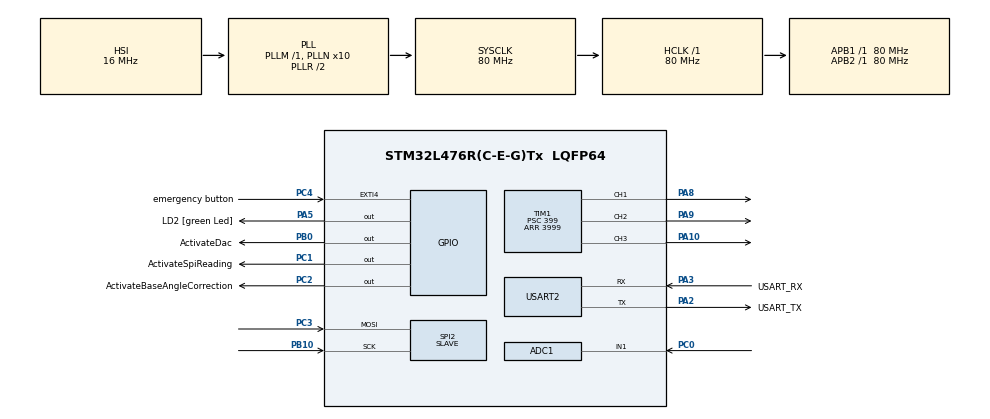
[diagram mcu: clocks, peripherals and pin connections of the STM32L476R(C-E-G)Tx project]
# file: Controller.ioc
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ADC1.Channel-0\#ChannelRegularConversion=ADC_CHANNEL_1
ADC1.NbrOfConversionFlag=1
ADC1.OffsetNumber-0\#ChannelRegularConversion=ADC_OFFSET_NONE
ADC1.Rank-0\#ChannelRegularConversion=1
ADC1.SamplingTime-0\#ChannelRegularConversion=ADC_SAMPLETIME_2CYCLES_5
ADC1.master=1
Mcu.Family=STM32L4
Mcu.Name=STM32L476R(C-E-G)Tx
Mcu.Package=LQFP64
NVIC.EXTI4_IRQn=true\:0\:0\:false\:false\:true\:true\:true\:true
NVIC.PriorityGroup=NVIC_PRIORITYGROUP_4
NVIC.TIM6_DAC_IRQn=true\:0\:0\:false\:false\:true\:true\:true\:true
PA10.Signal=S_TIM1_CH3
PA13\ (JTMS-SWDIO).GPIO_Label=TMS
PA13\ (JTMS-SWDIO).Mode=Serial_Wire
PA13\ (JTMS-SWDIO).Signal=SYS_JTMS-SWDIO
PA14\ (JTCK-SWCLK).GPIO_Label=TCK
PA14\ (JTCK-SWCLK).Mode=Serial_Wire
PA14\ (JTCK-SWCLK).Signal=SYS_JTCK-SWCLK
PA2.GPIO_Label=USART_TX
PA2.GPIO_Mode=GPIO_MODE_AF_PP
PA2.GPIO_PuPd=GPIO_NOPULL
PA2.GPIO_Speed=GPIO_SPEED_FREQ_VERY_HIGH
PA2.Mode=Asynchronous
PA2.Signal=USART2_TX
PA3.GPIO_Label=USART_RX
PA3.GPIO_Mode=GPIO_MODE_AF_PP
PA3.GPIO_PuPd=GPIO_NOPULL
PA3.GPIO_Speed=GPIO_SPEED_FREQ_VERY_HIGH
PA3.Mode=Asynchronous
PA3.Signal=USART2_RX
PA5.GPIO_Label=LD2 [green Led]
PA5.GPIO_ModeDefaultOutputPP=GPIO_MODE_OUTPUT_PP
PA5.GPIO_PuPd=GPIO_NOPULL
PA5.GPIO_Speed=GPIO_SPEED_FREQ_LOW
PA5.Signal=GPIO_Output
PA8.Signal=S_TIM1_CH1
PA9.Signal=S_TIM1_CH2
PB0.GPIO_Label=ActivateDac
PB0.Signal=GPIO_Output
PB10.Mode=RX_Only_Simplex_Unidirect_Slave
PB10.Signal=SPI2_SCK
PB3\ (JTDO-TRACESWO).GPIO_Label=SWO
PB3\ (JTDO-TRACESWO).Signal=SYS_JTDO-SWO
PC0.Signal=ADCx_IN1
PC1.GPIO_Label=ActivateSpiReading
PC1.Signal=GPIO_Output
PC14-OSC32_IN\ (PC14).Mode=LSE-External-Oscillator
PC14-OSC32_IN\ (PC14).Signal=RCC_OSC32_IN
PC15-OSC32_OUT\ (PC15).Mode=LSE-External-Oscillator
PC15-OSC32_OUT\ (PC15).Signal=RCC_OSC32_OUT
PC2.GPIO_Label=ActivateBaseAngleCorrection
PC2.Signal=GPIO_Output
PC3.Mode=RX_Only_Simplex_Unidirect_Slave
PC3.Signal=SPI2_MOSI
PC4.GPIO_Label=emergency button
PC4.Signal=GPXTI4
PH0-OSC_IN\ (PH0).Signal=RCC_OSC_IN
PH1-OSC_OUT\ (PH1).Signal=RCC_OSC_OUT
ProjectManager.HeapSize=0x200
ProjectManager.StackSize=0x400
ProjectManager.TargetToolchain=STM32CubeIDE
RCC.ADCFreq_Value=64000000
RCC.AHBFreq_Value=80000000
RCC.APB1Freq_Value=80000000
RCC.APB1TimFreq_Value=80000000
RCC.APB2Freq_Value=80000000
RCC.APB2TimFreq_Value=80000000
RCC.CortexFreq_Value=80000000
RCC.HCLKFreq_Value=80000000
RCC.HSE_VALUE=8000000
RCC.HSI_VALUE=16000000
RCC.MSI_VALUE=4000000
RCC.PLLN=10
RCC.PLLSourceVirtual=RCC_PLLSOURCE_HSI
RCC.PREFETCH_ENABLE=1
RCC.SYSCLKFreq_VALUE=80000000
RCC.SYSCLKSource=RCC_SYSCLKSOURCE_PLLCLK
RCC.USBFreq_Value=64000000
RCC.VCOOutputFreq_Value=160000000
SH.ADCx_IN1.0=ADC1_IN1,IN1-Single-Ended
SH.S_TIM1_CH1.0=TIM1_CH1,PWM Generation1 CH1
SH.S_TIM1_CH2.0=TIM1_CH2,PWM Generation2 CH2
SH.S_TIM1_CH3.0=TIM1_CH3,PWM Generation3 CH3
SPI2.DataSize=SPI_DATASIZE_8BIT
SPI2.Direction=SPI_DIRECTION_2LINES_RXONLY
SPI2.Mode=SPI_MODE_SLAVE
SPI2.VirtualType=VM_SLAVE
TIM1.Channel-PWM\ Generation1\ CH1=TIM_CHANNEL_1
TIM1.Channel-PWM\ Generation2\ CH2=TIM_CHANNEL_2
TIM1.Channel-PWM\ Generation3\ CH3=TIM_CHANNEL_3
TIM1.Period=3999
TIM1.Prescaler=399
TIM6.Period=5999
TIM6.Prescaler=7999
USART2.VirtualMode-Asynchronous=VM_ASYNC
VP_TIM1_VS_ClockSourceINT.Mode=Internal
VP_TIM6_VS_ClockSourceINT.Mode=Enable_Timer
board=NUCLEO-L476RG

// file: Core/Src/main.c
/* USER CODE BEGIN Header */
/**
  ******************************************************************************
  * @file           : main.c
  * @brief          : Main program body
  ******************************************************************************
  * @attention
  *
  * Copyright (c) 2025 STMicroelectronics.
  * All rights reserved.
  *
  * This software is licensed under terms that can be found in the LICENSE file
  * in the root directory of this software component.
  * If no LICENSE file comes with this software, it is provided AS-IS.
  *
  ******************************************************************************
  */
/* USER CODE END Header */
#include "main.h"
#include "adc.h"
#include "spi.h"
#include "tim.h"
#include "usart.h"
#include "gpio.h"

/* USER CODE BEGIN Includes */
#include <math.h>
/* USER CODE END Includes */

/* USER CODE BEGIN PTD */
typedef struct {
    double angle_base;
    double angle_a1;
    double angle_a2;
    uint16_t ccr_base;
    uint16_t ccr_a1;
    uint16_t ccr_a2;
} ArmAnglesCCR_t;
/* USER CODE END PTD */

/* USER CODE BEGIN PD */
#define ADC_MAX_VALUE 4095 //(2^12bits) -1
#define REF_VOLTAGE 3.3f //volts
#define INITIAL_POSITION_SERVO 1500
#define SUPERLOOP_PERIOD_MS   600u
#define SERVO_SETTLE_MS      200u

/* USER CODE END PD */

/* USER CODE BEGIN PV */
typedef enum {
    STATE_COMPUTE,
    STATE_SEND,
    STATE_WAIT,
    STATE_READ,
    STATE_VERIFY,
    STATE_CORRECT,
    STATE_GRIP,
    STATE_RESET
} ArmState_t;

/* USER CODE END PV */

void SystemClock_Config(void);
/* USER CODE BEGIN PFP */
float adcToVolts(uint32_t rawReading);
ArmAnglesCCR_t ArmAnglesCCR_centered(double x, double y, double z);
float readAdc();
void PwmStart(uint8_t channelNumber1, uint8_t channelNumber2, uint8_t channelNumber3);
void sendCCR(uint16_t x, uint16_t y, uint16_t z);
void readAngles();
void PwmStop(uint8_t channelNumber1, uint8_t channelNumber2, uint8_t channelNumber3);
void angleCorrectionMinus90();
int8_t verifyPosition(double desiredBase, int8_t actualBase, float* result);
void initialPosition();
void turnOnLedGreen();
void turnOffLedGreen();
void activateGripper();
uint16_t angle_to_ccr(double angle);
uint16_t correctAngle(int8_t base_meas, float base_error);
/* USER CODE END PFP */

/* USER CODE BEGIN 0 */
ArmAnglesCCR_t ccrAnlge;
int8_t tx_bytes_corrected[3] = {0,0,0}; // Tableau SPI à recevoir
uint8_t tx_bytes[3] = {0,0,0}; // Tableau SPI à recevoir
volatile uint32_t nbErrors=0;
volatile uint8_t emergency_stop = 0;
static ArmState_t state = STATE_COMPUTE;
volatile uint8_t superloop_tick = 0;
static uint32_t wait_start_ms = 0u;

/* USER CODE END 0 */

int main(void)
{

  /* MCU Configuration--------------------------------------------------------*/

  /* Reset of all peripherals, Initializes the Flash interface and the Systick. */
  HAL_Init();

  /* Configure the system clock */
  SystemClock_Config();

  /* Initialize all configured peripherals */
  MX_GPIO_Init();
  MX_USART2_UART_Init();
  MX_ADC1_Init();
  MX_SPI2_Init();
  MX_TIM1_Init();
  MX_TIM6_Init();
  /* USER CODE BEGIN 2 */
  HAL_TIM_Base_Start_IT(&htim6);
  PwmStart(TIM_CHANNEL_1, TIM_CHANNEL_2, TIM_CHANNEL_3);
  int8_t y_position= 65;
  float base_error=0;
  /* USER CODE END 2 */

  /* Infinite loop */
  /* USER CODE BEGIN WHILE */
  while (1)
  {
	  if (emergency_stop)
	  {
	      PwmStop(TIM_CHANNEL_1, TIM_CHANNEL_2, TIM_CHANNEL_3);
	      HAL_TIM_Base_Stop_IT(&htim6);
	      turnOffLedGreen();
	      continue;
	  }

	  if(superloop_tick ==0){
		  continue;
	  }
	  superloop_tick=0;

	  switch(state){

		  case STATE_COMPUTE:
			  ccrAnlge = ArmAnglesCCR_centered(30,y_position,10);
			  turnOnLedGreen();
			  state = STATE_SEND;
			  break;

		  case STATE_SEND:
			  sendCCR(ccrAnlge.ccr_base,ccrAnlge.ccr_a1,ccrAnlge.ccr_a2);
			  wait_start_ms = HAL_GetTick();
			  state = STATE_WAIT;
			  break;

		  //very long, upto 200ms
		  case STATE_WAIT:
			   if ((HAL_GetTick() - wait_start_ms) >= SERVO_SETTLE_MS){
					state = STATE_READ;
			   }
			  break;

		  //very long, upto 200ms
		  case STATE_READ:
			  readAngles();
			  angleCorrectionMinus90();
			  state = STATE_VERIFY;
			  break;

		  case STATE_VERIFY:
			  int result = verifyPosition(ccrAnlge.angle_base, tx_bytes_corrected[0], &base_error);
			  if(result ==-1){
				  state = STATE_CORRECT;
			  }

			  else if(result ==1){
				  state = STATE_GRIP;
			  }
			  break;

		  case STATE_CORRECT:
			  uint16_t corrected_ccr_base = correctAngle(tx_bytes_corrected[0],base_error);
			  ccrAnlge.ccr_base= corrected_ccr_base;
			  state = STATE_SEND;
			  break;

		  case STATE_GRIP:
			  activateGripper();
			  if(readAdc()>0.1){
				  state = STATE_RESET;
			  }
			  else{
				  nbErrors++; //increment error variable
				  state = STATE_RESET;
			  }
			  break;

		  case STATE_RESET:
			  initialPosition();
			  turnOffLedGreen();
			  y_position = -y_position; //toggle y position
			  state = STATE_COMPUTE;
			  break;

		  default:
			  state = STATE_COMPUTE;
			  break;
	  }

    /* USER CODE END WHILE */

  }
}

void SystemClock_Config(void)
{
  RCC_OscInitTypeDef RCC_OscInitStruct = {0};
  RCC_ClkInitTypeDef RCC_ClkInitStruct = {0};

  /** Configure the main internal regulator output voltage
  */
  if (HAL_PWREx_ControlVoltageScaling(PWR_REGULATOR_VOLTAGE_SCALE1) != HAL_OK)
  {
    Error_Handler();
  }

  /** Initializes the RCC Oscillators according to the specified parameters
  * in the RCC_OscInitTypeDef structure.
  */
  RCC_OscInitStruct.OscillatorType = RCC_OSCILLATORTYPE_HSI;
  RCC_OscInitStruct.HSIState = RCC_HSI_ON;
  RCC_OscInitStruct.HSICalibrationValue = RCC_HSICALIBRATION_DEFAULT;
  RCC_OscInitStruct.PLL.PLLState = RCC_PLL_ON;
  RCC_OscInitStruct.PLL.PLLSource = RCC_PLLSOURCE_HSI;
  RCC_OscInitStruct.PLL.PLLM = 1;
  RCC_OscInitStruct.PLL.PLLN = 10;
  RCC_OscInitStruct.PLL.PLLP = RCC_PLLP_DIV7;
  RCC_OscInitStruct.PLL.PLLQ = RCC_PLLQ_DIV2;
  RCC_OscInitStruct.PLL.PLLR = RCC_PLLR_DIV2;
  if (HAL_RCC_OscConfig(&RCC_OscInitStruct) != HAL_OK)
  {
    Error_Handler();
  }

  /** Initializes the CPU, AHB and APB buses clocks
  */
  RCC_ClkInitStruct.ClockType = RCC_CLOCKTYPE_HCLK|RCC_CLOCKTYPE_SYSCLK
                              |RCC_CLOCKTYPE_PCLK1|RCC_CLOCKTYPE_PCLK2;
  RCC_ClkInitStruct.SYSCLKSource = RCC_SYSCLKSOURCE_PLLCLK;
  RCC_ClkInitStruct.AHBCLKDivider = RCC_SYSCLK_DIV1;
  RCC_ClkInitStruct.APB1CLKDivider = RCC_HCLK_DIV1;
  RCC_ClkInitStruct.APB2CLKDivider = RCC_HCLK_DIV1;

  if (HAL_RCC_ClockConfig(&RCC_ClkInitStruct, FLASH_LATENCY_4) != HAL_OK)
  {
    Error_Handler();
  }
}

/* USER CODE BEGIN 4 */
void HAL_GPIO_EXTI_Callback(uint16_t GPIO_Pin)
{
    if (GPIO_Pin == GPIO_PIN_4)
    {
        emergency_stop = 1;
    }
}

void HAL_TIM_PeriodElapsedCallback(TIM_HandleTypeDef *htim)
{
    if (htim->Instance == TIM6)
    {
        superloop_tick = 1;
    }
}

uint16_t correctAngle(int8_t base_meas, float base_error){
	// Apply correction
	if (base_error > 0)
		base_meas -= base_error;
	else
		base_meas += base_error;

	uint16_t corrected_ccr_base = angle_to_ccr(base_meas);
	return corrected_ccr_base;

}

// Conversion angle 0-180° -> CCR
uint16_t angle_to_ccr(double angle) {
	double angle_calculated;
    if (angle < -90.0) {        // Clamp minimal
        angle = -90.0;
    }
    else if (angle >= 90.0) { // Clamp maximal
        angle = 90.0;
    }

    angle_calculated = (1500.0 + (angle/90.0) * 500.0);
    return (uint16_t)angle_calculated;
}

void activateGripper(){
	  HAL_GPIO_WritePin(GPIOB, GPIO_PIN_0, GPIO_PIN_SET); //activer la pince pour saisir objet
}
void turnOffLedGreen(){
	  HAL_GPIO_WritePin(GPIOA, GPIO_PIN_5, GPIO_PIN_RESET); //green light instead of red light to indicate motors stopped
}
void turnOnLedGreen(){
	  HAL_GPIO_WritePin(GPIOA, GPIO_PIN_5, GPIO_PIN_SET); //green light instead of red light to indicate motors moving
}
void initialPosition(){
	__HAL_TIM_SET_COMPARE(&htim1, TIM_CHANNEL_3, INITIAL_POSITION_SERVO);
	__HAL_TIM_SET_COMPARE(&htim1, TIM_CHANNEL_1, INITIAL_POSITION_SERVO);
	__HAL_TIM_SET_COMPARE(&htim1, TIM_CHANNEL_2, INITIAL_POSITION_SERVO);
}

int8_t verifyPosition(double desiredBase, int8_t actualBase, float* result){
	float error = fabs((float)desiredBase - (float)actualBase);
	*result= error;
	if(error >=0.0 && error <10.0){
		return 1; //success
	}
	else {
		return -1; //error
	}
}

void angleCorrectionMinus90(){
	for(uint8_t i=0; i<sizeof(tx_bytes); i++){
		tx_bytes_corrected[i]=tx_bytes[i]-90; //ajustement de 90 degs
	}
}

void readAngles(){
	 HAL_GPIO_WritePin(GPIOC, GPIO_PIN_1, GPIO_PIN_SET);
	 HAL_SPI_Receive(&hspi2, tx_bytes, 3, 200); //200ms delay
	 HAL_GPIO_WritePin(GPIOC, GPIO_PIN_1, GPIO_PIN_RESET);
}

void sendCCR(uint16_t x, uint16_t y, uint16_t z){
	  __HAL_TIM_SET_COMPARE(&htim1, TIM_CHANNEL_3, x); //PA10 -> PA8
	  __HAL_TIM_SET_COMPARE(&htim1, TIM_CHANNEL_1, y); //PA9 ->
	  __HAL_TIM_SET_COMPARE(&htim1, TIM_CHANNEL_2, z); //PA8
}

void PwmStart(uint8_t channelNumber1, uint8_t channelNumber2, uint8_t channelNumber3){
	  HAL_TIM_PWM_Start(&htim1, channelNumber1);
	  HAL_TIM_PWM_Start(&htim1, channelNumber2);
	  HAL_TIM_PWM_Start(&htim1, channelNumber3);
}

void PwmStop(uint8_t channelNumber1, uint8_t channelNumber2, uint8_t channelNumber3){
	  HAL_TIM_PWM_Stop(&htim1, channelNumber1);
	  HAL_TIM_PWM_Stop(&htim1, channelNumber2);
	  HAL_TIM_PWM_Stop(&htim1, channelNumber3);
}

float adcToVolts(uint32_t rawReading){
	float result = ((float)rawReading/(float)ADC_MAX_VALUE)*REF_VOLTAGE;
	return result;
}

float readAdc(){
	 uint32_t adc_value = 0;
	 float adc_value_VOlts = 0;

	  HAL_ADC_Start(&hadc1);
	  HAL_ADC_PollForConversion(&hadc1, 10);
	 adc_value = HAL_ADC_GetValue(&hadc1);
	HAL_ADC_Stop(&hadc1);
	 adc_value_VOlts = adcToVolts(adc_value);
	 return adc_value_VOlts;
}

ArmAnglesCCR_t ArmAnglesCCR_centered(double x, double y, double z)
{
    ArmAnglesCCR_t result;

    // ---- Paramètres physiques ----
    const double L = 75.0;          // longueur des segments (mm)
    const uint16_t CCR_MIN = 1000;  // CCR correspondant à -90°
    const uint16_t CCR_MAX = 2000;  // CCR correspondant à +90°
    const uint16_t CCR_CENTER = (CCR_MIN + CCR_MAX) / 2;
    const double CCR_SCALE = (CCR_MAX - CCR_MIN) / 180.0; // µs par degré

    // ---- Calcul des angles ----
    double b = atan2(y, x);               // angle base (radians)
    double l = sqrt(x*x + y*y);           // distance horizontale
    double h = sqrt(l*l + z*z);           // distance totale
    double phi = atan2(z, l);             // angle vertical de l'axe
    double theta = acos(h / (2.0 * L));   // loi du cos pour bras

    double a1 = phi + theta;              // angle bras 1 (radians)
    double a2 = phi - theta;              // angle bras 2 (radians)

    // conversion en degrés
    result.angle_base = b  * 180.0 / M_PI;
    result.angle_a1   = a1 * 180.0 / M_PI;
    result.angle_a2   = a2 * 180.0 / M_PI;

    // ---- Conversion en CCR centrés ----
    result.ccr_base = CCR_CENTER + (int16_t)(result.angle_base * CCR_SCALE);
    result.ccr_a1   = CCR_CENTER + (int16_t)(result.angle_a1 * CCR_SCALE);
    result.ccr_a2   = CCR_CENTER + (int16_t)(result.angle_a2 * CCR_SCALE);

    return result;
}

/* USER CODE END 4 */

void Error_Handler(void)
{
  __disable_irq();
  while (1)
  {
  }
}
